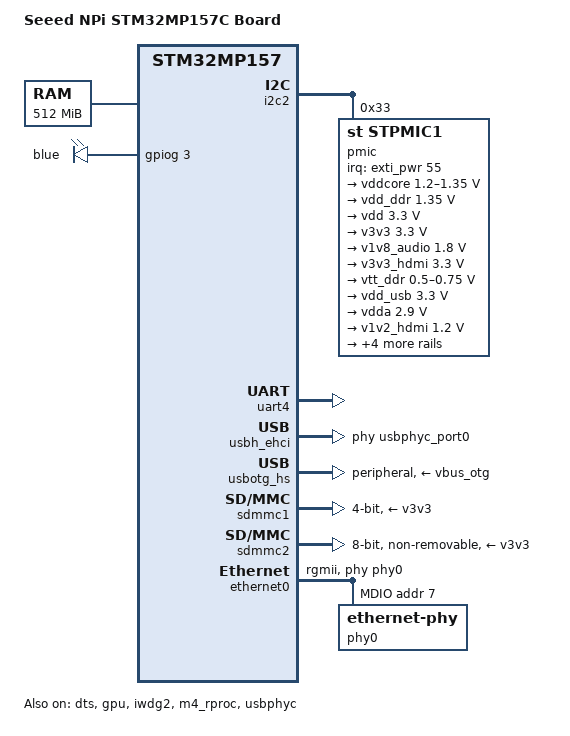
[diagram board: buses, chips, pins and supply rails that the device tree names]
// SPDX-License-Identifier: (GPL-2.0+ OR BSD-3-Clause)
/*
 * Copyright (C) STMicroelectronics 2018 - All Rights Reserved
 * Author: Alexandre Torgue <alexandre.torgue@st.com>.
 *
 * Copyright (C) Seeed Studio 2019 - All Rights Reserved
 * Author: Peter Yang <turmary@126.com>
 *
 */

/dts-v1/;

/ {
	#address-cells = <1>;
	#size-cells = <1>;

	soc {
		/* Fix sdmmc index order */
		sdmmc@58005000 {};
		sdmmc@58007000 {};
		sdmmc@48004000 {};
	};
};

#include "stm32mp157c.dtsi"
#include "stm32mp157c-m4-srm.dtsi"
#include "stm32mp157cac-pinctrl.dtsi"
#include <dt-bindings/gpio/gpio.h>
#include <dt-bindings/input/input.h>
#include <dt-bindings/mfd/st,stpmic1.h>

/ {
	model = "Seeed NPi STM32MP157C Board";
	compatible = "seeed,npi-stm32mp1", "st,stm32mp157";

	aliases {
		ethernet0 = &ethernet0;
		serial0 = &uart4;
		serial1 = &usart1;
		serial2 = &usart2;
		mmc0    = &sdmmc1;
		mmc1    = &sdmmc2;
		mmc2    = &sdmmc3;
		i2c0	= &i2c2;
		i2c1	= &i2c4;	/* RPi compatible */
		i2c2	= &i2c1;
	};

	chosen {
		stdout-path = "serial0:115200n8";
	};

	memory@c0000000 {
		reg = <0xc0000000 0x20000000>;
	};

	reserved-memory {
		#address-cells = <1>;
		#size-cells = <1>;
		ranges;

		retram: retram@0x38000000 {
			compatible = "shared-dma-pool";
			reg = <0x38000000 0x10000>;
			no-map;
		};

		mcuram: mcuram@0x30000000 {
			compatible = "shared-dma-pool";
			reg = <0x30000000 0x40000>;
			no-map;
		};

		mcuram2: mcuram2@0x10000000 {
			compatible = "shared-dma-pool";
			reg = <0x10000000 0x40000>;
			no-map;
		};

		vdev0vring0: vdev0vring0@10040000 {
			compatible = "shared-dma-pool";
			reg = <0x10040000 0x2000>;
			no-map;
		};

		vdev0vring1: vdev0vring1@10042000 {
			compatible = "shared-dma-pool";
			reg = <0x10042000 0x2000>;
			no-map;
		};

		vdev0buffer: vdev0buffer@10044000 {
			compatible = "shared-dma-pool";
			reg = <0x10044000 0x4000>;
			no-map;
		};

		gpu_reserved: gpu@dc000000 {
			reg = <0xdc000000 0x4000000>;
			no-map;
		};
	};

	sram: sram@10050000 {
		compatible = "mmio-sram";
		reg = <0x10050000 0x10000>;
		#address-cells = <1>;
		#size-cells = <1>;
		ranges = <0 0x10050000 0x10000>;

		dma_pool: dma_pool@0 {
			reg = <0x0 0x10000>;
			pool;
		};
	};

	led {
		compatible = "gpio-leds";
		pinctrl-names = "default";
		pinctrl-0 = <>;
		status = "okay";

		blue {
			label = "blue";
			gpios = <&gpiog  3 GPIO_ACTIVE_HIGH>;
			linux,default-trigger = "heartbeat";
			default-state = "off";
		};
	};

	usb_phy_tuning: usb-phy-tuning {
		st,hs-dc-level = <2>;
		st,fs-rftime-tuning;
		st,hs-rftime-reduction;
		st,hs-current-trim = <15>;
		st,hs-impedance-trim = <1>;
		st,squelch-level = <3>;
		st,hs-rx-offset = <2>;
		st,no-lsfs-sc;
	};
};

&dma1 {
	sram = <&dma_pool>;
};

&dma2 {
	sram = <&dma_pool>;
};

&dts {
	status = "okay";
};

&gpu {
	contiguous-area = <&gpu_reserved>;
	status = "okay";
};

&ipcc {
	status = "okay";
};

&iwdg2 {
	timeout-sec = <32>;
	status = "okay";
};

&m4_rproc {
	memory-region = <&retram>, <&mcuram>, <&mcuram2>, <&vdev0vring0>,
			<&vdev0vring1>, <&vdev0buffer>;
	mboxes = <&ipcc 0>, <&ipcc 1>, <&ipcc 2>;
	mbox-names = "vq0", "vq1", "shutdown";
	interrupt-parent = <&exti>;
	interrupts = <68 1>;
	interrupt-names = "wdg";
	recovery;
	status = "okay";
};

&pwr {
	pwr-supply = <&vdd>;
};

&i2c2 {
	pinctrl-names = "default", "sleep";
	pinctrl-0 = <&i2c2_pins_a>;
	pinctrl-1 = <&i2c2_pins_sleep_a>;
	i2c-scl-rising-time-ns = <185>;
	i2c-scl-falling-time-ns = <20>;
	status = "okay";
	/delete-property/dmas;
	/delete-property/dma-names;

	pmic: stpmic@33 {
		compatible = "st,stpmic1";
		reg = <0x33>;
		interrupts-extended = <&exti_pwr 55 IRQ_TYPE_EDGE_FALLING>;
		interrupt-controller;
		#interrupt-cells = <2>;
		status = "okay";

		st,main-control-register = <0x04>;
		st,vin-control-register = <0xc0>;
		st,usb-control-register = <0x20>;

		regulators {
			compatible = "st,stpmic1-regulators";

			ldo1-supply = <&v3v3>;
			ldo3-supply = <&vdd_ddr>;
			ldo6-supply = <&v3v3>;
			pwr_sw1-supply = <&bst_out>;
			pwr_sw2-supply = <&bst_out>;

			vddcore: buck1 {
				regulator-name = "vddcore";
				regulator-min-microvolt = <1200000>;
				regulator-max-microvolt = <1350000>;
				regulator-always-on;
				regulator-initial-mode = <0>;
				regulator-over-current-protection;
			};

			vdd_ddr: buck2 {
				regulator-name = "vdd_ddr";
				regulator-min-microvolt = <1350000>;
				regulator-max-microvolt = <1350000>;
				regulator-always-on;
				regulator-initial-mode = <0>;
				regulator-over-current-protection;
			};

			vdd: buck3 {
				regulator-name = "vdd";
				regulator-min-microvolt = <3300000>;
				regulator-max-microvolt = <3300000>;
				regulator-always-on;
				st,mask-reset;
				regulator-initial-mode = <0>;
				regulator-over-current-protection;
			};

			v3v3: buck4 {
				regulator-name = "v3v3";
				regulator-min-microvolt = <3300000>;
				regulator-max-microvolt = <3300000>;
				regulator-always-on;
				regulator-over-current-protection;
				regulator-initial-mode = <0>;
			};

			v1v8_audio: ldo1 {
				regulator-name = "v1v8_audio";
				regulator-min-microvolt = <1800000>;
				regulator-max-microvolt = <1800000>;
				regulator-always-on;
				interrupts = <IT_CURLIM_LDO1 0>;

			};

			v3v3_hdmi: ldo2 {
				regulator-name = "v3v3_hdmi";
				regulator-min-microvolt = <3300000>;
				regulator-max-microvolt = <3300000>;
				regulator-always-on;
				interrupts = <IT_CURLIM_LDO2 0>;

			};

			vtt_ddr: ldo3 {
				regulator-name = "vtt_ddr";
				regulator-min-microvolt = <500000>;
				regulator-max-microvolt = <750000>;
				regulator-always-on;
				regulator-over-current-protection;
			};

			vdd_usb: ldo4 {
				regulator-name = "vdd_usb";
				regulator-min-microvolt = <3300000>;
				regulator-max-microvolt = <3300000>;
				interrupts = <IT_CURLIM_LDO4 0>;
			};

			vdda: ldo5 {
				regulator-name = "vdda";
				regulator-min-microvolt = <2900000>;
				regulator-max-microvolt = <2900000>;
				interrupts = <IT_CURLIM_LDO5 0>;
				regulator-boot-on;
			};

			v1v2_hdmi: ldo6 {
				regulator-name = "v1v2_hdmi";
				regulator-min-microvolt = <1200000>;
				regulator-max-microvolt = <1200000>;
				regulator-always-on;
				interrupts = <IT_CURLIM_LDO6 0>;

			};

			vref_ddr: vref_ddr {
				regulator-name = "vref_ddr";
				regulator-always-on;
				regulator-over-current-protection;
			};

			bst_out: boost {
				regulator-name = "bst_out";
				interrupts = <IT_OCP_BOOST 0>;
			};

			vbus_otg: pwr_sw1 {
				regulator-name = "vbus_otg";
				interrupts = <IT_OCP_OTG 0>;
				regulator-active-discharge;
			};

			vbus_sw: pwr_sw2 {
				regulator-name = "vbus_sw";
				interrupts = <IT_OCP_SWOUT 0>;
				regulator-active-discharge;
			};
		};

		onkey {
			compatible = "st,stpmic1-onkey";
			interrupts = <IT_PONKEY_F 0>, <IT_PONKEY_R 1>;
			interrupt-names = "onkey-falling", "onkey-rising";
			power-off-time-sec = <5>;
			st,onkey-clear-cc-flag;
			status = "okay";
		};

		watchdog {
			compatible = "st,stpmic1-wdt";
			status = "disabled";
		};
	};
};

&uart4 {
	pinctrl-names = "default", "sleep", "idle", "no_console_suspend";
	pinctrl-0 = <&uart4_pins_a>;
	pinctrl-1 = <&uart4_sleep_pins_a>;
	pinctrl-2 = <&uart4_idle_pins_a>;
	pinctrl-3 = <&uart4_pins_a>;
	status = "okay";
};

&usbh_ehci {
	phys = <&usbphyc_port0>, <&usbphyc_port1 1>;
	phy-names = "usb", "usb2";
	status = "okay";
};

&usbotg_hs {
	compatible = "st,stm32mp1-fsotg", "snps,dwc2";                    /* Use full-speed integrated PHY */
	pinctrl-names = "default";
	pinctrl-0 = <&usbotg_hs_pins_a &usbotg_fs_dp_dm_pins_a>;          /* configure OTG ID and full-speed data pins */
	vbus-supply = <&vbus_otg>;                                        /* voltage regulator to supply Vbus */
	dr_mode = "peripheral";
	/*
	 * don't use with FS PHY
	 * force-b-session-valid;
	 */
	/*
	phys = <&usbphyc_port1 0>;
	phy-names = "usb2-phy";
	*/
	status = "okay";
};

&usbphyc {
	vdd3v3-supply = <&vdd_usb>;
	status = "okay";
};

&usbphyc_port0 {
	st,phy-tuning = <&usb_phy_tuning>;
};

&usbphyc_port1 {
	st,phy-tuning = <&usb_phy_tuning>;
};

&sdmmc1 {
	pinctrl-names = "default", "opendrain", "sleep";
	pinctrl-0 = <&sdmmc1_b4_pins_a>;
	pinctrl-1 = <&sdmmc1_b4_od_pins_a>;
	pinctrl-2 = <&sdmmc1_b4_sleep_pins_a>;
	broken-cd;
	st,neg-edge;
	bus-width = <4>;
	vmmc-supply = <&v3v3>;
	status = "okay";
};

&sdmmc2 {
	pinctrl-names = "default", "opendrain", "sleep";
	pinctrl-0 = <&sdmmc2_b4_pins_a &sdmmc2_d47_pins_s>;
	pinctrl-1 = <&sdmmc2_b4_od_pins_a &sdmmc2_d47_pins_s>;
	pinctrl-2 = <&sdmmc2_b4_sleep_pins_a &sdmmc2_d47_sleep_pins_s>;
	non-removable;
	broken-cd;
	st,neg-edge;
	bus-width = <8>;
	vmmc-supply = <&v3v3>;
	status = "okay";
};

&ethernet0 {
	status = "okay";
	pinctrl-0 = <&ethernet0_rgmii_pins_a>;
	pinctrl-1 = <&ethernet0_rgmii_pins_sleep_a>;
	pinctrl-names = "default", "sleep";
	phy-mode = "rgmii";
	max-speed = <1000>;
	phy-handle = <&phy0>;

	mdio0 {
		#address-cells = <1>;
		#size-cells = <0>;
		compatible = "snps,dwmac-mdio";

		phy0: ethernet-phy@7 {
			reg = <7>;

			/*
			 * These skews assume the STM32MP1 has no internal delay.
			 *
			 * All skews are offset since hardware skew values for the ksz9031
			 * range from a negative skew to a positive skew.
			 * See the micrel-ksz90x1.txt Documentation file for details.
			 */
			/* REG 0x0008, 5 bits per skew */
			txc-skew-ps  = <1800>;/*  900ps */
			rxc-skew-ps  = <1320>;/*  420ps */

			/* REG 0x0004, 4 bits per skew */
			txen-skew-ps = <420>;  /*   0ps */
			rxdv-skew-ps = <420>; /*    0ps */

			/* REG 0x0005, 4 bits per skew */
			rxd0-skew-ps = <720>; /*  300ps */
			rxd1-skew-ps = <780>; /*  360ps */
			rxd2-skew-ps = <840>; /*  420ps */
			rxd3-skew-ps = <900>; /*  480ps */

			/* REG 0x0006, 4 bits per skew */
			txd0-skew-ps = <0>;   /* -420ps */
			txd1-skew-ps = <60>;  /* -360ps */
			txd2-skew-ps = <120>; /* -300ps */
			txd3-skew-ps = <180>; /* -240ps */

			micrel,force-master;
		};
	};
};


